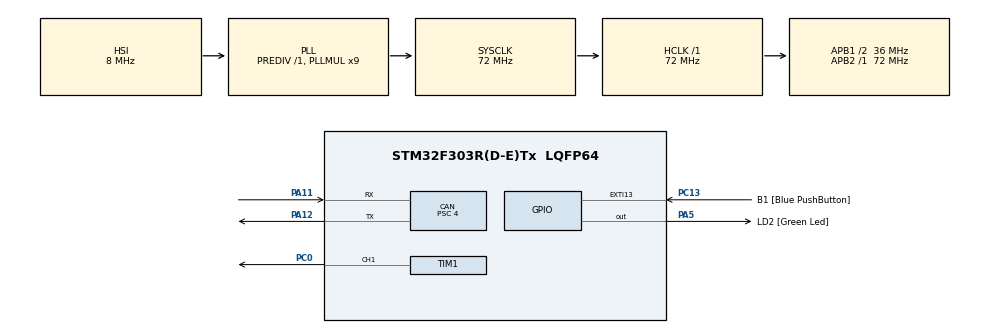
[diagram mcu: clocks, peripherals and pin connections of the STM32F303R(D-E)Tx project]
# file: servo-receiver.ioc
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CAN.BS1=CAN_BS1_14TQ
CAN.BS2=CAN_BS2_3TQ
CAN.CalculateBaudRate=500000
CAN.CalculateTimeBit=2000
CAN.CalculateTimeQuantum=111.11111111111111
CAN.Prescaler=4
Mcu.Family=STM32F3
Mcu.Name=STM32F303R(D-E)Tx
Mcu.Package=LQFP64
NVIC.PriorityGroup=NVIC_PRIORITYGROUP_1
NVIC.USB_LP_CAN_RX0_IRQn=true\:0\:0\:false\:false\:true\:true\:true\:true
PA11.Mode=CAN_Activate
PA11.Signal=CAN_RX
PA12.Mode=CAN_Activate
PA12.Signal=CAN_TX
PA13.GPIO_Label=TMS
PA13.Signal=SYS_JTMS-SWDIO
PA14.GPIO_Label=TCK
PA14.Signal=SYS_JTCK-SWCLK
PA2.GPIO_Label=USART_TX
PA2.GPIO_Mode=GPIO_MODE_AF_PP
PA2.GPIO_PuPd=GPIO_NOPULL
PA2.GPIO_Speed=GPIO_SPEED_FREQ_LOW
PA2.Signal=USART2_TX
PA3.GPIO_Label=USART_RX
PA3.GPIO_Mode=GPIO_MODE_AF_PP
PA3.GPIO_PuPd=GPIO_NOPULL
PA3.GPIO_Speed=GPIO_SPEED_FREQ_LOW
PA3.Signal=USART2_RX
PA5.GPIO_Label=LD2 [Green Led]
PA5.GPIO_Mode=GPIO_MODE_OUTPUT_PP
PA5.GPIO_PuPd=GPIO_NOPULL
PA5.GPIO_Speed=GPIO_SPEED_FREQ_LOW
PA5.Signal=GPIO_Output
PB3.GPIO_Label=SWO
PB3.Signal=SYS_JTDO-TRACESWO
PC0.Signal=S_TIM1_CH1
PC13.GPIO_Label=B1 [Blue PushButton]
PC13.GPIO_ModeDefaultEXTI=GPIO_MODE_IT_FALLING
PC13.Signal=GPXTI13
PC14-OSC32_IN.Signal=RCC_OSC32_IN
PC15-OSC32_OUT.Signal=RCC_OSC32_OUT
PF0-OSC_IN.Signal=RCC_OSC_IN
PF1-OSC_OUT.Signal=RCC_OSC_OUT
ProjectManager.HeapSize=0x200
ProjectManager.StackSize=0x400
ProjectManager.TargetToolchain=STM32CubeIDE
RCC.AHBFreq_Value=72000000
RCC.APB1CLKDivider=RCC_HCLK_DIV2
RCC.APB1Freq_Value=36000000
RCC.APB1TimFreq_Value=72000000
RCC.APB2Freq_Value=72000000
RCC.APB2TimFreq_Value=72000000
RCC.CortexFreq_Value=72000000
RCC.HCLKFreq_Value=72000000
RCC.HSE_VALUE=8000000
RCC.HSI_VALUE=8000000
RCC.LSE_VALUE=32768
RCC.PLLM=8
RCC.PLLMUL=RCC_PLL_MUL9
RCC.PLLN=336
RCC.PLLP=RCC_PLLP_DIV4
RCC.PLLQ=7
RCC.RCC_PLLsource_Clock_Source_FROM_HSE=RCC_HSE_PREDIV_DIV2
RCC.SYSCLKFreq_VALUE=72000000
RCC.SYSCLKSourceVirtual=RCC_SYSCLKSOURCE_PLLCLK
RCC.USBFreq_Value=72000000
SH.S_TIM1_CH1.0=TIM1_CH1,PWM Generation1 CH1
TIM1.AutoReloadPreload=TIM_AUTORELOAD_PRELOAD_ENABLE
TIM1.Channel-PWM\ Generation1\ CH1=TIM_CHANNEL_1
TIM1.Period=19999
TIM1.Prescaler=71
board=NUCLEO-F303RE

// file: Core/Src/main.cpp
/* USER CODE BEGIN Header */
/**
  ******************************************************************************
  * @file           : main.c
  * @brief          : Main program body
  ******************************************************************************
  * @attention
  *
  * Copyright (c) 2024 STMicroelectronics.
  * All rights reserved.
  *
  * This software is licensed under terms that can be found in the LICENSE file
  * in the root directory of this software component.
  * If no LICENSE file comes with this software, it is provided AS-IS.
  *
  ******************************************************************************
  */
/* USER CODE END Header */
#include "main.h"

/* USER CODE BEGIN Includes */
#include "servo.hpp"

/* USER CODE END Includes */

CAN_HandleTypeDef hcan;

TIM_HandleTypeDef htim1;

/* USER CODE BEGIN PV */

CAN_RxHeaderTypeDef rx_header;
uint8_t rx_buf[8];

Servo servo(&htim1, TIM_CHANNEL_1, 180, 1000, 2000);
/* USER CODE END PV */

void SystemClock_Config(void);
static void MX_GPIO_Init(void);
static void MX_CAN_Init(void);
static void MX_TIM1_Init(void);

int main(void)
{

  /* MCU Configuration--------------------------------------------------------*/

  /* Reset of all peripherals, Initializes the Flash interface and the Systick. */
  HAL_Init();

  /* Configure the system clock */
  SystemClock_Config();

  /* Initialize all configured peripherals */
  MX_GPIO_Init();
  MX_CAN_Init();
  MX_TIM1_Init();
  /* USER CODE BEGIN 2 */
  servo.start_servo();
  HAL_CAN_Start(&hcan);

  if (HAL_CAN_ActivateNotification(&hcan, CAN_IT_RX_FIFO0_MSG_PENDING) != HAL_OK) {
	  Error_Handler();
  }
  /* USER CODE END 2 */

  /* Infinite loop */
  while (1)
  {

  }
}

void SystemClock_Config(void)
{
  RCC_OscInitTypeDef RCC_OscInitStruct = {0};
  RCC_ClkInitTypeDef RCC_ClkInitStruct = {0};
  RCC_PeriphCLKInitTypeDef PeriphClkInit = {0};

  /** Initializes the RCC Oscillators according to the specified parameters
  * in the RCC_OscInitTypeDef structure.
  */
  RCC_OscInitStruct.OscillatorType = RCC_OSCILLATORTYPE_HSI;
  RCC_OscInitStruct.HSIState = RCC_HSI_ON;
  RCC_OscInitStruct.HSICalibrationValue = RCC_HSICALIBRATION_DEFAULT;
  RCC_OscInitStruct.PLL.PLLState = RCC_PLL_ON;
  RCC_OscInitStruct.PLL.PLLSource = RCC_PLLSOURCE_HSI;
  RCC_OscInitStruct.PLL.PLLMUL = RCC_PLL_MUL9;
  RCC_OscInitStruct.PLL.PREDIV = RCC_PREDIV_DIV1;
  if (HAL_RCC_OscConfig(&RCC_OscInitStruct) != HAL_OK)
  {
    Error_Handler();
  }

  /** Initializes the CPU, AHB and APB buses clocks
  */
  RCC_ClkInitStruct.ClockType = RCC_CLOCKTYPE_HCLK|RCC_CLOCKTYPE_SYSCLK
                              |RCC_CLOCKTYPE_PCLK1|RCC_CLOCKTYPE_PCLK2;
  RCC_ClkInitStruct.SYSCLKSource = RCC_SYSCLKSOURCE_PLLCLK;
  RCC_ClkInitStruct.AHBCLKDivider = RCC_SYSCLK_DIV1;
  RCC_ClkInitStruct.APB1CLKDivider = RCC_HCLK_DIV2;
  RCC_ClkInitStruct.APB2CLKDivider = RCC_HCLK_DIV1;

  if (HAL_RCC_ClockConfig(&RCC_ClkInitStruct, FLASH_LATENCY_2) != HAL_OK)
  {
    Error_Handler();
  }
  PeriphClkInit.PeriphClockSelection = RCC_PERIPHCLK_TIM1;
  PeriphClkInit.Tim1ClockSelection = RCC_TIM1CLK_HCLK;
  if (HAL_RCCEx_PeriphCLKConfig(&PeriphClkInit) != HAL_OK)
  {
    Error_Handler();
  }
}

static void MX_CAN_Init(void)
{

  hcan.Instance = CAN;
  hcan.Init.Prescaler = 4;
  hcan.Init.Mode = CAN_MODE_NORMAL;
  hcan.Init.SyncJumpWidth = CAN_SJW_1TQ;
  hcan.Init.TimeSeg1 = CAN_BS1_14TQ;
  hcan.Init.TimeSeg2 = CAN_BS2_3TQ;
  hcan.Init.TimeTriggeredMode = DISABLE;
  hcan.Init.AutoBusOff = DISABLE;
  hcan.Init.AutoWakeUp = DISABLE;
  hcan.Init.AutoRetransmission = DISABLE;
  hcan.Init.ReceiveFifoLocked = DISABLE;
  hcan.Init.TransmitFifoPriority = DISABLE;
  if (HAL_CAN_Init(&hcan) != HAL_OK)
  {
    Error_Handler();
  }
  /* USER CODE BEGIN CAN_Init 2 */
	CAN_FilterTypeDef  sFilterConfig;

	uint32_t filter_id = 2024;
	uint32_t filter_mask = 0xFFFF;

	sFilterConfig.FilterBank = 0;
	sFilterConfig.FilterMode = CAN_FILTERMODE_IDMASK;
	sFilterConfig.FilterScale = CAN_FILTERSCALE_32BIT;
	sFilterConfig.FilterIdHigh = (((filter_id << 3) & 0xFFFF0000) >> 16);
	sFilterConfig.FilterIdLow = (filter_id << 3) & 0xFFFF;
	sFilterConfig.FilterMaskIdHigh = (((filter_mask << 3) & 0xFFFF0000) >> 16);
	sFilterConfig.FilterMaskIdLow = (filter_mask << 3) & 0xFFFF;
	sFilterConfig.FilterFIFOAssignment = CAN_FILTER_FIFO0;
	sFilterConfig.FilterActivation = CAN_FILTER_ENABLE;
	sFilterConfig.SlaveStartFilterBank = 14;

	if (HAL_CAN_ConfigFilter(&hcan, &sFilterConfig) != HAL_OK) {
		Error_Handler();
	}
  /* USER CODE END CAN_Init 2 */

}

static void MX_TIM1_Init(void)
{

  TIM_MasterConfigTypeDef sMasterConfig = {0};
  TIM_OC_InitTypeDef sConfigOC = {0};
  TIM_BreakDeadTimeConfigTypeDef sBreakDeadTimeConfig = {0};

  htim1.Instance = TIM1;
  htim1.Init.Prescaler = 71;
  htim1.Init.CounterMode = TIM_COUNTERMODE_UP;
  htim1.Init.Period = 19999;
  htim1.Init.ClockDivision = TIM_CLOCKDIVISION_DIV1;
  htim1.Init.RepetitionCounter = 0;
  htim1.Init.AutoReloadPreload = TIM_AUTORELOAD_PRELOAD_ENABLE;
  if (HAL_TIM_PWM_Init(&htim1) != HAL_OK)
  {
    Error_Handler();
  }
  sMasterConfig.MasterOutputTrigger = TIM_TRGO_RESET;
  sMasterConfig.MasterOutputTrigger2 = TIM_TRGO2_RESET;
  sMasterConfig.MasterSlaveMode = TIM_MASTERSLAVEMODE_DISABLE;
  if (HAL_TIMEx_MasterConfigSynchronization(&htim1, &sMasterConfig) != HAL_OK)
  {
    Error_Handler();
  }
  sConfigOC.OCMode = TIM_OCMODE_PWM1;
  sConfigOC.Pulse = 0;
  sConfigOC.OCPolarity = TIM_OCPOLARITY_HIGH;
  sConfigOC.OCNPolarity = TIM_OCNPOLARITY_HIGH;
  sConfigOC.OCFastMode = TIM_OCFAST_DISABLE;
  sConfigOC.OCIdleState = TIM_OCIDLESTATE_RESET;
  sConfigOC.OCNIdleState = TIM_OCNIDLESTATE_RESET;
  if (HAL_TIM_PWM_ConfigChannel(&htim1, &sConfigOC, TIM_CHANNEL_1) != HAL_OK)
  {
    Error_Handler();
  }
  sBreakDeadTimeConfig.OffStateRunMode = TIM_OSSR_DISABLE;
  sBreakDeadTimeConfig.OffStateIDLEMode = TIM_OSSI_DISABLE;
  sBreakDeadTimeConfig.LockLevel = TIM_LOCKLEVEL_OFF;
  sBreakDeadTimeConfig.DeadTime = 0;
  sBreakDeadTimeConfig.BreakState = TIM_BREAK_DISABLE;
  sBreakDeadTimeConfig.BreakPolarity = TIM_BREAKPOLARITY_HIGH;
  sBreakDeadTimeConfig.BreakFilter = 0;
  sBreakDeadTimeConfig.Break2State = TIM_BREAK2_DISABLE;
  sBreakDeadTimeConfig.Break2Polarity = TIM_BREAK2POLARITY_HIGH;
  sBreakDeadTimeConfig.Break2Filter = 0;
  sBreakDeadTimeConfig.AutomaticOutput = TIM_AUTOMATICOUTPUT_DISABLE;
  if (HAL_TIMEx_ConfigBreakDeadTime(&htim1, &sBreakDeadTimeConfig) != HAL_OK)
  {
    Error_Handler();
  }
  HAL_TIM_MspPostInit(&htim1);

}

static void MX_GPIO_Init(void)
{
  GPIO_InitTypeDef GPIO_InitStruct = {0};

  /* GPIO Ports Clock Enable */
  __HAL_RCC_GPIOC_CLK_ENABLE();
  __HAL_RCC_GPIOF_CLK_ENABLE();
  __HAL_RCC_GPIOA_CLK_ENABLE();
  __HAL_RCC_GPIOB_CLK_ENABLE();

  /*Configure GPIO pin Output Level */
  HAL_GPIO_WritePin(LD2_GPIO_Port, LD2_Pin, GPIO_PIN_RESET);

  /*Configure GPIO pin : B1_Pin */
  GPIO_InitStruct.Pin = B1_Pin;
  GPIO_InitStruct.Mode = GPIO_MODE_IT_FALLING;
  GPIO_InitStruct.Pull = GPIO_NOPULL;
  HAL_GPIO_Init(B1_GPIO_Port, &GPIO_InitStruct);

  /*Configure GPIO pins : USART_TX_Pin USART_RX_Pin */
  GPIO_InitStruct.Pin = USART_TX_Pin|USART_RX_Pin;
  GPIO_InitStruct.Mode = GPIO_MODE_AF_PP;
  GPIO_InitStruct.Pull = GPIO_NOPULL;
  GPIO_InitStruct.Speed = GPIO_SPEED_FREQ_LOW;
  GPIO_InitStruct.Alternate = GPIO_AF7_USART2;
  HAL_GPIO_Init(GPIOA, &GPIO_InitStruct);

  /*Configure GPIO pin : LD2_Pin */
  GPIO_InitStruct.Pin = LD2_Pin;
  GPIO_InitStruct.Mode = GPIO_MODE_OUTPUT_PP;
  GPIO_InitStruct.Pull = GPIO_NOPULL;
  GPIO_InitStruct.Speed = GPIO_SPEED_FREQ_LOW;
  HAL_GPIO_Init(LD2_GPIO_Port, &GPIO_InitStruct);

}

/* USER CODE BEGIN 4 */
void HAL_CAN_RxFifo0MsgPendingCallback(CAN_HandleTypeDef *hcan) {
	HAL_GPIO_WritePin(GPIOA, GPIO_PIN_5, GPIO_PIN_SET);
	if (HAL_CAN_GetRxMessage(hcan, CAN_RX_FIFO0, &rx_header, rx_buf) != HAL_OK) {
		Error_Handler();
	}
	servo.set_angle(rx_buf[0]);
	if (HAL_CAN_ActivateNotification(hcan, CAN_IT_RX_FIFO0_MSG_PENDING) != HAL_OK) {
		Error_Handler();
	}
	HAL_GPIO_WritePin(GPIOA, GPIO_PIN_5, GPIO_PIN_RESET);
}
/* USER CODE END 4 */

void Error_Handler(void)
{
  __disable_irq();
  while (1)
  {
  }
}
